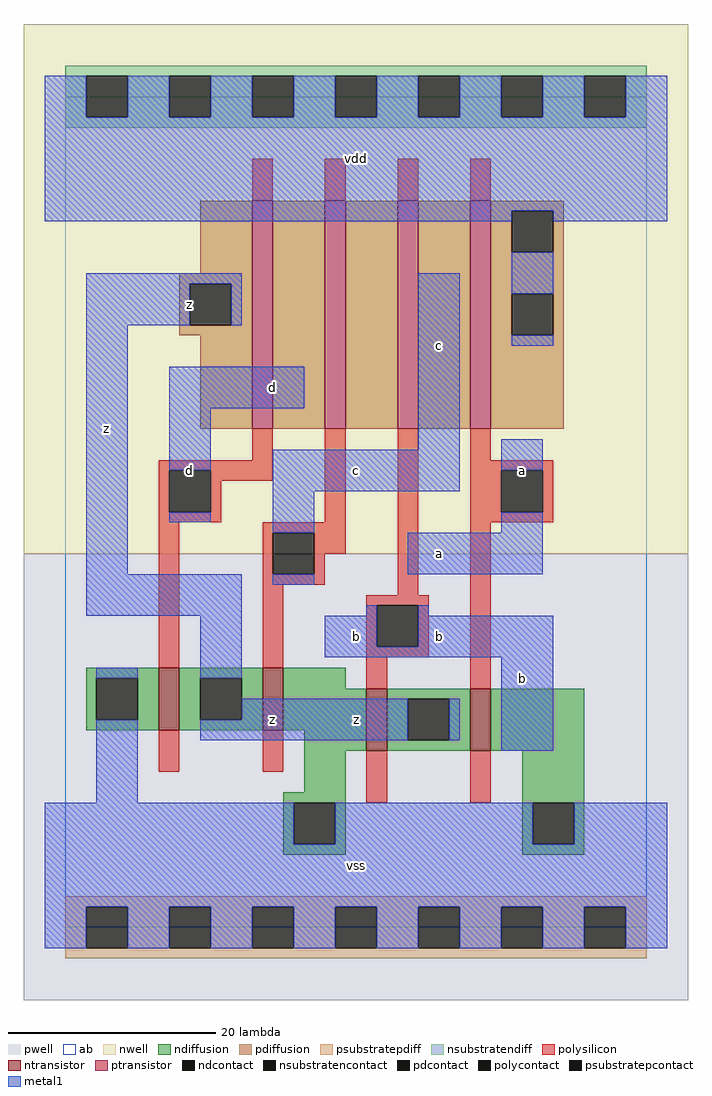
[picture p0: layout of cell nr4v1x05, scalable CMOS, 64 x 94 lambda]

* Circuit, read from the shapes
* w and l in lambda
.subckt nr4v1x05 a b c d vdd vss z
M1 z d vss vss nfet w=6 l=2
M2 vss c z vss nfet w=6 l=2
M3 z b vss vss nfet w=6 l=2
M4 vss a z vss nfet w=6 l=2
M5 n1 d z vdd pfet w=22 l=2
M6 n2 c n1 vdd pfet w=22 l=2
M7 n3 b n2 vdd pfet w=22 l=2
M8 vdd a n3 vdd pfet w=22 l=2
.ends

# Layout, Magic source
magic
tech scmos
<< ab >>
rect 0 0 56 80
<< pwell >>
rect -4 -7 60 36
<< nwell >>
rect -4 36 60 87
<< polysilicon >>
rect 18 70 20 74
rect 25 70 27 74
rect 32 70 34 74
rect 39 70 41 74
rect 18 45 20 48
rect 9 44 20 45
rect 9 40 10 44
rect 14 43 20 44
rect 14 40 15 43
rect 9 39 15 40
rect 25 39 27 48
rect 9 25 11 39
rect 19 38 27 39
rect 19 34 20 38
rect 24 36 27 38
rect 24 34 25 36
rect 19 33 25 34
rect 19 25 21 33
rect 32 32 34 48
rect 39 45 41 48
rect 39 44 47 45
rect 39 40 42 44
rect 46 40 47 44
rect 39 39 47 40
rect 29 31 35 32
rect 29 27 30 31
rect 34 27 35 31
rect 29 26 35 27
rect 29 23 31 26
rect 39 23 41 39
rect 9 15 11 19
rect 19 15 21 19
rect 29 12 31 17
rect 39 12 41 17
<< ndiffusion >>
rect 2 24 9 25
rect 2 20 3 24
rect 7 20 9 24
rect 2 19 9 20
rect 11 24 19 25
rect 11 20 13 24
rect 17 20 19 24
rect 11 19 19 20
rect 21 23 27 25
rect 21 19 29 23
rect 23 17 29 19
rect 31 22 39 23
rect 31 18 33 22
rect 37 18 39 22
rect 31 17 39 18
rect 41 17 50 23
rect 23 13 27 17
rect 21 12 27 13
rect 44 12 50 17
rect 21 8 22 12
rect 26 8 27 12
rect 21 7 27 8
rect 44 8 45 12
rect 49 8 50 12
rect 44 7 50 8
<< pdiffusion >>
rect 13 63 18 70
rect 11 62 18 63
rect 11 58 12 62
rect 16 58 18 62
rect 11 57 18 58
rect 13 48 18 57
rect 20 48 25 70
rect 27 48 32 70
rect 34 48 39 70
rect 41 69 48 70
rect 41 65 43 69
rect 47 65 48 69
rect 41 61 48 65
rect 41 57 43 61
rect 47 57 48 61
rect 41 48 48 57
<< metal1 >>
rect -2 78 2 82
rect 6 78 10 82
rect 14 78 18 82
rect 22 78 26 82
rect 30 78 34 82
rect 38 78 42 82
rect 46 78 50 82
rect 54 78 58 82
rect -2 69 58 78
rect -2 68 43 69
rect 47 68 58 69
rect 2 62 17 63
rect 2 58 12 62
rect 16 58 17 62
rect 2 34 6 58
rect 10 50 23 54
rect 10 44 14 50
rect 34 46 38 63
rect 43 61 47 65
rect 43 56 47 57
rect 10 39 14 40
rect 20 42 38 46
rect 42 44 46 47
rect 20 38 24 42
rect 42 38 46 40
rect 33 34 46 38
rect 2 30 17 34
rect 20 33 24 34
rect 29 30 30 31
rect 3 24 7 25
rect 3 12 7 20
rect 13 24 17 30
rect 25 27 30 30
rect 34 30 35 31
rect 34 27 47 30
rect 25 26 47 27
rect 17 20 33 22
rect 13 18 33 20
rect 37 18 38 22
rect 42 17 47 26
rect -2 8 22 12
rect 26 8 45 12
rect 49 8 58 12
rect -2 2 58 8
rect -2 -2 2 2
rect 6 -2 10 2
rect 14 -2 18 2
rect 22 -2 26 2
rect 30 -2 34 2
rect 38 -2 42 2
rect 46 -2 50 2
rect 54 -2 58 2
<< ntransistor >>
rect 9 19 11 25
rect 19 19 21 25
rect 29 17 31 23
rect 39 17 41 23
<< ptransistor >>
rect 18 48 20 70
rect 25 48 27 70
rect 32 48 34 70
rect 39 48 41 70
<< polycontact >>
rect 10 40 14 44
rect 20 34 24 38
rect 42 40 46 44
rect 30 27 34 31
<< ndcontact >>
rect 3 20 7 24
rect 13 20 17 24
rect 33 18 37 22
rect 22 8 26 12
rect 45 8 49 12
<< pdcontact >>
rect 12 58 16 62
rect 43 65 47 69
rect 43 57 47 61
<< psubstratepcontact >>
rect 2 -2 6 2
rect 10 -2 14 2
rect 18 -2 22 2
rect 26 -2 30 2
rect 34 -2 38 2
rect 42 -2 46 2
rect 50 -2 54 2
<< nsubstratencontact >>
rect 2 78 6 82
rect 10 78 14 82
rect 18 78 22 82
rect 26 78 30 82
rect 34 78 38 82
rect 42 78 46 82
rect 50 78 54 82
<< psubstratepdiff >>
rect 0 2 56 3
rect 0 -2 2 2
rect 6 -2 10 2
rect 14 -2 18 2
rect 22 -2 26 2
rect 30 -2 34 2
rect 38 -2 42 2
rect 46 -2 50 2
rect 54 -2 56 2
rect 0 -3 56 -2
<< nsubstratendiff >>
rect 0 82 56 83
rect 0 78 2 82
rect 6 78 10 82
rect 14 78 18 82
rect 22 78 26 82
rect 30 78 34 82
rect 38 78 42 82
rect 46 78 50 82
rect 54 78 56 82
rect 0 77 56 78
<< labels >>
rlabel metal1 4 48 4 48 6 z
rlabel metal1 12 44 12 44 6 d
rlabel metal1 12 60 12 60 6 z
rlabel metal1 28 6 28 6 6 vss
rlabel metal1 20 20 20 20 6 z
rlabel metal1 28 20 28 20 6 z
rlabel metal1 28 28 28 28 6 b
rlabel metal1 28 44 28 44 6 c
rlabel metal1 20 52 20 52 6 d
rlabel metal1 28 74 28 74 6 vdd
rlabel metal1 36 28 36 28 6 b
rlabel metal1 44 24 44 24 6 b
rlabel metal1 36 36 36 36 6 a
rlabel metal1 44 44 44 44 6 a
rlabel metal1 36 56 36 56 6 c
<< end >>
